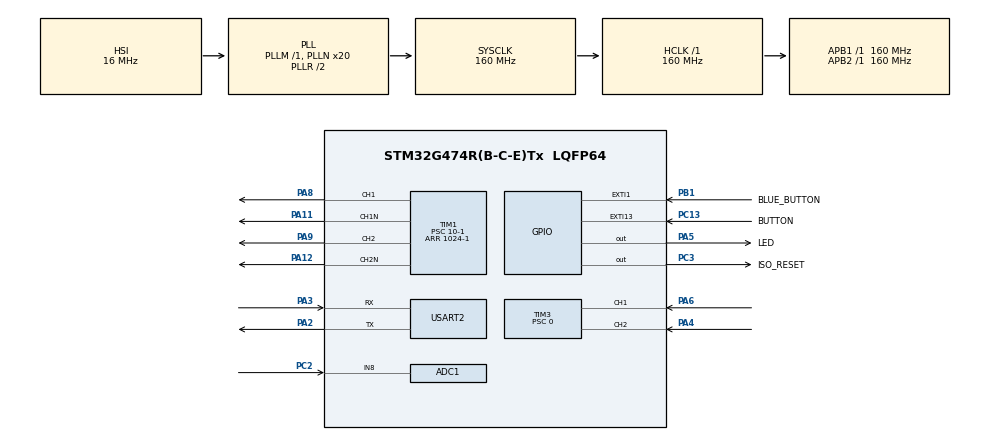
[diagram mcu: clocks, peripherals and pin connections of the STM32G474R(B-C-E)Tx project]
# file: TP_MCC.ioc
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ADC1.Channel-0\#ChannelRegularConversion=ADC_CHANNEL_8
ADC1.DMAContinuousRequests=ENABLE
ADC1.ExternalTrigConv=ADC_EXTERNALTRIG_T1_TRGO
ADC1.NbrOfConversionFlag=1
ADC1.OffsetNumber-0\#ChannelRegularConversion=ADC_OFFSET_NONE
ADC1.Rank-0\#ChannelRegularConversion=1
ADC1.SamplingTime-0\#ChannelRegularConversion=ADC_SAMPLETIME_2CYCLES_5
ADC1.master=1
Dma.ADC1.0.Direction=DMA_PERIPH_TO_MEMORY
Dma.ADC1.0.EventEnable=DISABLE
Dma.ADC1.0.Instance=DMA1_Channel1
Dma.ADC1.0.MemDataAlignment=DMA_MDATAALIGN_HALFWORD
Dma.ADC1.0.MemInc=DMA_MINC_ENABLE
Dma.ADC1.0.Mode=DMA_CIRCULAR
Dma.ADC1.0.PeriphDataAlignment=DMA_PDATAALIGN_HALFWORD
Dma.ADC1.0.PeriphInc=DMA_PINC_DISABLE
Dma.ADC1.0.Polarity=HAL_DMAMUX_REQ_GEN_RISING
Dma.ADC1.0.Priority=DMA_PRIORITY_LOW
Dma.ADC1.0.RequestNumber=1
Dma.ADC1.0.SignalID=NONE
Dma.ADC1.0.SyncEnable=DISABLE
Dma.ADC1.0.SyncPolarity=HAL_DMAMUX_SYNC_NO_EVENT
Dma.ADC1.0.SyncRequestNumber=1
Dma.ADC1.0.SyncSignalID=NONE
Dma.Request0=ADC1
Mcu.Family=STM32G4
Mcu.Name=STM32G474R(B-C-E)Tx
Mcu.Package=LQFP64
NVIC.ADC1_2_IRQn=true\:0\:0\:false\:false\:true\:true\:true\:true
NVIC.DMA1_Channel1_IRQn=true\:0\:0\:false\:false\:true\:false\:true\:true
NVIC.EXTI15_10_IRQn=true\:0\:0\:false\:false\:true\:true\:true\:true
NVIC.EXTI1_IRQn=true\:0\:0\:false\:false\:true\:true\:true\:true
NVIC.PriorityGroup=NVIC_PRIORITYGROUP_4
NVIC.TIM1_UP_TIM16_IRQn=true\:0\:0\:false\:false\:true\:true\:true\:true
NVIC.TIM2_IRQn=true\:0\:0\:false\:false\:true\:true\:true\:true
NVIC.TIM3_IRQn=true\:0\:0\:false\:false\:true\:true\:true\:true
NVIC.TIM4_IRQn=true\:0\:0\:false\:false\:true\:true\:true\:true
NVIC.USART2_IRQn=true\:0\:0\:false\:false\:true\:true\:true\:true
PA11.Mode=PWM Generation1 CH1 CH1N
PA11.Signal=TIM1_CH1N
PA12.Mode=PWM Generation2 CH2 CH2N
PA12.Signal=TIM1_CH2N
PA13.GPIO_Label=T_SWDIO
PA13.Mode=Serial_Wire
PA13.Signal=SYS_JTMS-SWDIO
PA14.GPIO_Label=T_SWCLK
PA14.Mode=Serial_Wire
PA14.Signal=SYS_JTCK-SWCLK
PA2.Mode=Asynchronous
PA2.Signal=USART2_TX
PA3.Mode=Asynchronous
PA3.Signal=USART2_RX
PA4.Signal=S_TIM3_CH2
PA5.GPIO_Label=LED
PA5.Signal=GPIO_Output
PA6.Signal=S_TIM3_CH1
PA8.Signal=S_TIM1_CH1
PA9.Signal=S_TIM1_CH2
PB1.GPIO_Label=BLUE_BUTTON
PB1.Signal=GPXTI1
PC13.GPIO_Label=BUTTON
PC13.Signal=GPXTI13
PC14-OSC32_IN.Mode=LSE-External-Oscillator
PC14-OSC32_IN.Signal=RCC_OSC32_IN
PC15-OSC32_OUT.Mode=LSE-External-Oscillator
PC15-OSC32_OUT.Signal=RCC_OSC32_OUT
PC2.Mode=IN8-Single-Ended
PC2.Signal=ADC1_IN8
PC3.GPIO_Label=ISO_RESET
PC3.Signal=GPIO_Output
PF0-OSC_IN.Mode=HSE-External-Oscillator
PF0-OSC_IN.Signal=RCC_OSC_IN
PF1-OSC_OUT.Mode=HSE-External-Oscillator
PF1-OSC_OUT.Signal=RCC_OSC_OUT
ProjectManager.HeapSize=0x200
ProjectManager.StackSize=0x400
ProjectManager.TargetToolchain=STM32CubeIDE
RCC.ADC12Freq_Value=160000000
RCC.ADC345Freq_Value=160000000
RCC.AHBFreq_Value=160000000
RCC.APB1Freq_Value=160000000
RCC.APB1TimFreq_Value=160000000
RCC.APB2Freq_Value=160000000
RCC.APB2TimFreq_Value=160000000
RCC.CortexFreq_Value=160000000
RCC.EXTERNAL_CLOCK_VALUE=12288000
RCC.HCLKFreq_Value=160000000
RCC.HSE_VALUE=24000000
RCC.HSI48_VALUE=48000000
RCC.HSI_VALUE=16000000
RCC.PLLN=20
RCC.RTCClockSelection=RCC_RTCCLKSOURCE_LSE
RCC.SYSCLKFreq_VALUE=160000000
RCC.SYSCLKSource=RCC_SYSCLKSOURCE_PLLCLK
RCC.USBFreq_Value=160000000
RCC.VCOOutputFreq_Value=320000000
SH.S_TIM1_CH1.0=TIM1_CH1,PWM Generation1 CH1 CH1N
SH.S_TIM1_CH2.0=TIM1_CH2,PWM Generation2 CH2 CH2N
SH.S_TIM3_CH1.0=TIM3_CH1,Encoder_Interface
SH.S_TIM3_CH2.0=TIM3_CH2,Encoder_Interface
TIM1.AutoReloadPreload=TIM_AUTORELOAD_PRELOAD_ENABLE
TIM1.Channel-PWM\ Generation1\ CH1\ CH1N=TIM_CHANNEL_1
TIM1.Channel-PWM\ Generation2\ CH2\ CH2N=TIM_CHANNEL_2
TIM1.DeadTime=200
TIM1.PeriodNoDither=1024-1
TIM1.Prescaler=10-1
TIM1.PulseNoDither_1=512
TIM1.PulseNoDither_2=512
TIM1.TIM_MasterOutputTrigger=TIM_TRGO_UPDATE
TIM1.TIM_MasterSlaveMode=TIM_MASTERSLAVEMODE_ENABLE
TIM2.PeriodNoDither=4999
TIM2.Prescaler=31999
TIM3.AutoReloadPreload=TIM_AUTORELOAD_PRELOAD_ENABLE
TIM3.EncoderMode=TIM_ENCODERMODE_TI12
TIM3.IC1Filter=10
TIM3.IC2Filter=10
TIM3.PeriodNoDither=65535
TIM3.Prescaler=0
TIM4.AutoReloadPreload=TIM_AUTORELOAD_PRELOAD_DISABLE
TIM4.PeriodNoDither=800-1
TIM4.Prescaler=20000-1
USART2.VirtualMode-Asynchronous=VM_ASYNC
VP_SYS_VS_DBSignals.Mode=DisableDeadBatterySignals
VP_TIM1_VS_ClockSourceINT.Mode=Internal
VP_TIM2_VS_ClockSourceINT.Mode=Internal
VP_TIM4_VS_ClockSourceINT.Mode=Internal
board=NUCLEO-G474RE

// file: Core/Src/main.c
/* USER CODE BEGIN Header */
/**
  ******************************************************************************
  * @file           : main.c
  * @brief          : Main program body
  ******************************************************************************
  * @attention
  *
  * Copyright (c) 2022 STMicroelectronics.
  * All rights reserved.
  *
  * This software is licensed under terms that can be found in the LICENSE file
  * in the root directory of this software component.
  * If no LICENSE file comes with this software, it is provided AS-IS.
  *
  ******************************************************************************
  */
/* USER CODE END Header */
#include "main.h"
#include "adc.h"
#include "dma.h"
#include "tim.h"
#include "usart.h"
#include "gpio.h"

/* USER CODE BEGIN Includes */
#include "shell.h"
#include <stdio.h>
#include <stdlib.h>
#include <string.h>
#include "MCC.h"
#include "PID.h"
/* USER CODE END Includes */

/* USER CODE BEGIN PM */
#define KP_CURRENT 0.05
#define KI_CURRENT 0.1
#define TIM1_PERIOD 0.000064
#define ALPHA_OUT_MAX_VALUE 0.9
#define ALPHA_OUT_MIN_VALUE 0
/* USER CODE END PM */

/* USER CODE BEGIN PV */
extern uint8_t uartRxReceived;
extern uint8_t uartRxBuffer[UART_RX_BUFFER_SIZE];
extern uint8_t uartTxBuffer[UART_TX_BUFFER_SIZE];
extern uint32_t adcBuffer[ADC_BUFFER_SIZE];
extern int it_tim1;

PIDController asservCurrent;
float consigneCurrent = 0.0f;

extern int printAdcFlag;
/* USER CODE END PV */

void SystemClock_Config(void);

int main(void)
{

  /* MCU Configuration--------------------------------------------------------*/

  /* Reset of all peripherals, Initializes the Flash interface and the Systick. */
  HAL_Init();

  /* Configure the system clock */
  SystemClock_Config();

  /* Initialize all configured peripherals */
  MX_GPIO_Init();
  MX_DMA_Init();
  MX_TIM1_Init();
  MX_USART2_UART_Init();
  MX_ADC1_Init();
  MX_TIM2_Init();
  MX_TIM3_Init();
  MX_TIM4_Init();
  /* USER CODE BEGIN 2 */
  HAL_Delay(1);
  shellInit();

  HAL_UART_Receive_IT(&huart2, uartRxBuffer, UART_RX_BUFFER_SIZE);

  HAL_ADCEx_Calibration_Start(&hadc1, ADC_SINGLE_ENDED);
  HAL_ADC_Start_DMA(&hadc1, adcBuffer, 1);

  HAL_TIM_Base_Start_IT(&htim1);
  HAL_TIM_Base_Start_IT(&htim2);

  HAL_TIM_Encoder_Start(&htim3, TIM_CHANNEL_ALL);
  HAL_TIM_Base_Start_IT(&htim4);

  //Initialisation asserv en courant
  PIDController_Init(&asservCurrent);

  asservCurrent.Kp = KP_CURRENT;
  asservCurrent.Ki = KI_CURRENT;

  asservCurrent.T = TIM1_PERIOD;

  asservCurrent.integrator = 0.5;

  asservCurrent.limMaxInt = ALPHA_OUT_MAX_VALUE;
  asservCurrent.limMinInt = ALPHA_OUT_MIN_VALUE;

  asservCurrent.limMax = ALPHA_OUT_MAX_VALUE;
  asservCurrent.limMin = ALPHA_OUT_MIN_VALUE;
  /* USER CODE END 2 */

  /* Infinite loop */
  /* USER CODE BEGIN WHILE */
  while (1)
  {
		if(uartRxReceived){
			if(shellGetChar()){
				shellExec();
				shellPrompt();
			}
			uartRxReceived = 0;
		}

		if(it_tim1){
			float measurement = -((((float)adcBuffer[0])*3.3/4096)-2.53)*12;
			PIDController_Update(&asservCurrent, consigneCurrent, measurement);

			speed((int)(asservCurrent.out*1024));
			it_tim1 = 0;
		}

    /* USER CODE END WHILE */

  }
}

void SystemClock_Config(void)
{
  RCC_OscInitTypeDef RCC_OscInitStruct = {0};
  RCC_ClkInitTypeDef RCC_ClkInitStruct = {0};

  /** Configure the main internal regulator output voltage
  */
  HAL_PWREx_ControlVoltageScaling(PWR_REGULATOR_VOLTAGE_SCALE1_BOOST);

  /** Initializes the RCC Oscillators according to the specified parameters
  * in the RCC_OscInitTypeDef structure.
  */
  RCC_OscInitStruct.OscillatorType = RCC_OSCILLATORTYPE_HSI;
  RCC_OscInitStruct.HSIState = RCC_HSI_ON;
  RCC_OscInitStruct.HSICalibrationValue = RCC_HSICALIBRATION_DEFAULT;
  RCC_OscInitStruct.PLL.PLLState = RCC_PLL_ON;
  RCC_OscInitStruct.PLL.PLLSource = RCC_PLLSOURCE_HSI;
  RCC_OscInitStruct.PLL.PLLM = RCC_PLLM_DIV1;
  RCC_OscInitStruct.PLL.PLLN = 20;
  RCC_OscInitStruct.PLL.PLLP = RCC_PLLP_DIV2;
  RCC_OscInitStruct.PLL.PLLQ = RCC_PLLQ_DIV2;
  RCC_OscInitStruct.PLL.PLLR = RCC_PLLR_DIV2;
  if (HAL_RCC_OscConfig(&RCC_OscInitStruct) != HAL_OK)
  {
    Error_Handler();
  }

  /** Initializes the CPU, AHB and APB buses clocks
  */
  RCC_ClkInitStruct.ClockType = RCC_CLOCKTYPE_HCLK|RCC_CLOCKTYPE_SYSCLK
                              |RCC_CLOCKTYPE_PCLK1|RCC_CLOCKTYPE_PCLK2;
  RCC_ClkInitStruct.SYSCLKSource = RCC_SYSCLKSOURCE_PLLCLK;
  RCC_ClkInitStruct.AHBCLKDivider = RCC_SYSCLK_DIV1;
  RCC_ClkInitStruct.APB1CLKDivider = RCC_HCLK_DIV1;
  RCC_ClkInitStruct.APB2CLKDivider = RCC_HCLK_DIV1;

  if (HAL_RCC_ClockConfig(&RCC_ClkInitStruct, FLASH_LATENCY_4) != HAL_OK)
  {
    Error_Handler();
  }
}

void Error_Handler(void)
{
  __disable_irq();
  while (1)
  {
  }
}
